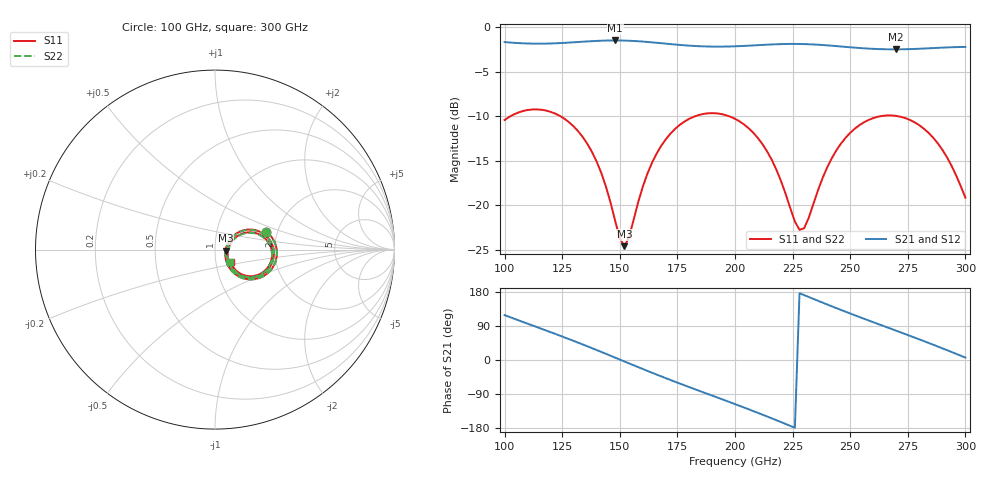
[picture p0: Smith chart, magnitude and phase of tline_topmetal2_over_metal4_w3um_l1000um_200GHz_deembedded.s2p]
! Created with skrf 2.2.0 (http://scikit-rf.org).
# GHz S DB R 50.0
! Port[1] = P1
! Port[2] = P2
!freq dBS11 angS11 dBS21 angS21 dBS12 angS12 dBS22 angS22
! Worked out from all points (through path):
!   101 points, 100 GHz to 300 GHz, reference 50 ohm
!   highest |S21| = -1.47 dB at 148 GHz (marker M1); lowest = -2.5 dB at 270 GHz (marker M2)
!   group delay of S21, straight-line fit = 6.58 ps
!   lowest |S11| = -24.6 dB at 152 GHz (marker M3), VSWR 1.13, Z = 56.2 - j0.738 ohm
!   |S11| at or under -10 dB: 124.3 GHz to 182.6 GHz (58.33 GHz wide, 38 % of centre); 197.5 GHz to 262.9 GHz (65.44 GHz wide, 28.4 % of centre); 270.9 GHz to end of sweep (the widest 3 of 4)
!   |S22| runs from -24.5 to -9.2 dB; largest |S21 - S12| = 1.3e-13
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100  -10.41 19.5  -1.65 118.4  -1.65 118.4  -10.41 19.3
108  -9.40 4.6  -1.79 100.3  -1.79 100.3  -9.40 4.3
118  -9.35 -14.2  -1.82 77.9  -1.82 77.9  -9.35 -14.5
134  -12.36 -42.8  -1.61 40.8  -1.61 40.8  -12.35 -43.1
142  -16.39 -51.8  -1.50 21.2  -1.50 21.2  -16.39 -52.0
148  -21.76 -42.2  -1.47 6.2  -1.47 6.2  -21.73 -42.3
152  -24.60 -6.4  -1.49 -3.9  -1.49 -3.9  -24.52 -6.7
162  -16.43 37.0  -1.64 -28.8  -1.64 -28.8  -16.41 36.4
168  -13.31 31.2  -1.78 -43.3  -1.78 -43.3  -13.29 30.6
184  -9.87 4.4  -2.11 -80.3  -2.11 -80.3  -9.86 3.8
200  -10.28 -23.9  -2.13 -116.4  -2.13 -116.4  -10.27 -24.6
214  -13.97 -44.8  -1.94 -149.3  -1.94 -149.3  -13.97 -45.6
228  -22.76 -14.1  -1.87 176.2  -1.87 176.2  -22.77 -14.8
230  -22.58 2.9  -1.88 171.2  -1.88 171.2  -22.58 2.2
234  -19.87 25.0  -1.92 161.3  -1.92 161.3  -19.86 24.2
240  -15.75 31.0  -2.02 146.6  -2.02 146.6  -15.74 30.2
248  -12.41 23.1  -2.19 127.4  -2.19 127.4  -12.40 22.2
258  -10.40 7.3  -2.39 104.3  -2.39 104.3  -10.40 6.3
268  -9.90 -9.7  -2.47 81.8  -2.47 81.8  -9.90 -10.8
270  -9.95 -13.1  -2.47 77.3  -2.47 77.3  -9.95 -14.3
286  -12.40 -38.2  -2.33 40.4  -2.33 40.4  -12.42 -39.8
300  -19.15 -38.1  -2.20 6.4  -2.20 6.4  -19.39 -40.6
